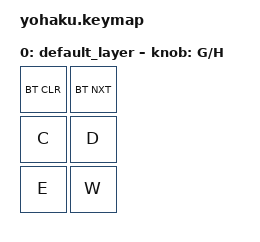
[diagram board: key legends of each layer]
#include <behaviors.dtsi>
#include <dt-bindings/zmk/keys.h>
#include <dt-bindings/zmk/bt.h>

&encoder_left {
    status = "okay";
};

/ {

    sensors {
        compatible = "zmk,keymap-sensors";
        sensors = <&encoder_left>;
        triggers-per-rotation = <20>;
    };

    keymap {
        compatible = "zmk,keymap";

        default_layer {
            bindings = <
                &bt BT_CLR &bt BT_NXT
                &kp C &kp D
                &kp E &kp W
            >;
            sensor-bindings = <&inc_dec_kp G H>;
        };
    };
};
